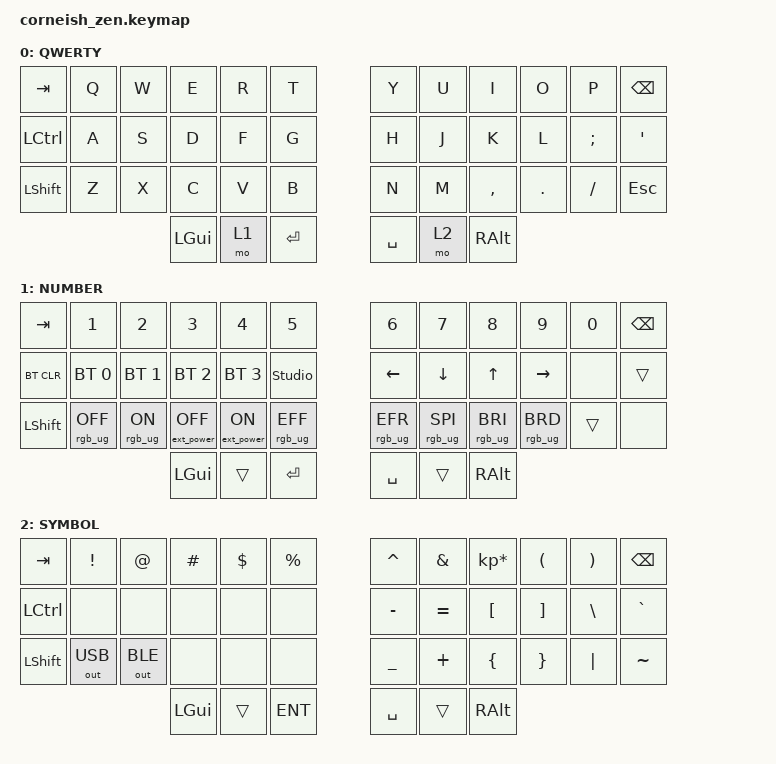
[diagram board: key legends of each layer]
/*
*
* Copyright (c) 2021 Darryl deHaan
* SPDX-License-Identifier: MIT
*
*/

#include <behaviors.dtsi>
#include <dt-bindings/zmk/keys.h>
#include <dt-bindings/zmk/bt.h>
#include <dt-bindings/zmk/ext_power.h>
#include <dt-bindings/zmk/outputs.h>
#include <dt-bindings/zmk/rgb.h>

/ {
    chosen {
        zmk,matrix_transform = &default_transform;
        // zmk,matrix_transform = &five_column_transform;
    };
};

/ {
    keymap {
        compatible = "zmk,keymap";

        default_layer {
            display-name = "QWERTY";
// --------------------------------------------------------------------------------
// |  TAB |  Q  |  W  |  E  |  R  |  T  |   |  Y  |  U   |  I  |  O  |  P  | BKSP |
// | CTRL |  A  |  S  |  D  |  F  |  G  |   |  H  |  J   |  K  |  L  |  ;  |  '   |
// | SHFT |  Z  |  X  |  C  |  V  |  B  |   |  N  |  M   |  ,  |  .  |  /  | ESC  |
//                    | GUI | LWR | SPC |   | ENT | RSE  | ALT |
            bindings = <
&kp TAB &kp Q   &kp W &kp E &kp R &kp T   &kp Y &kp U  &kp I     &kp O   &kp P    &kp BSPC
&kp LCTRL &kp A &kp S &kp D &kp F &kp G   &kp H &kp J  &kp K     &kp L   &kp SEMI &kp SQT
&kp LSHFT &kp Z &kp X &kp C &kp V &kp B   &kp N &kp M  &kp COMMA &kp DOT &kp FSLH &kp ESC
               &kp LGUI &mo 1 &kp RET   &kp SPACE &mo 2 &kp RALT
            >;
        };

        lower_layer {
            display-name = "NUMBER";
// -----------------------------------------------------------------------------------------
// |  TAB |  1  |  2  |  3  |  4  |  5  |   |  6  |  7  |  8  |  9  |  0  | BKSP |
// | BTCLR| BT1 | BT2 | BT3 | BT4 |SD_UL|   | LFT | DWN |  UP | RGT |     |      |
// | SHFT |     |     |     |     |     |   |     |     |     |     |     |      |
//                    | GUI |     | ENT |   | SPC |     | ALT |
            bindings = <
&kp TAB    &kp N1       &kp N2       &kp N3       &kp N4       &kp N5                                  &kp N6   &kp N7   &kp N8 &kp N9    &kp N0 &kp BSPC
&bt BT_CLR &bt BT_SEL 0 &bt BT_SEL 1 &bt BT_SEL 2 &bt BT_SEL 3 &studio_unlock                                 &kp LEFT &kp DOWN &kp UP &kp RIGHT &none &trans
&kp LSHFT  &rgb_ug RGB_OFF   &rgb_ug RGB_ON  &ext_power EP_OFF  &ext_power EP_ON  &rgb_ug RGB_EFF            &rgb_ug RGB_EFR        &rgb_ug RGB_SPI   &rgb_ug RGB_BRI   &rgb_ug RGB_BRD    &trans &none
                                     &kp LGUI     &trans       &kp RET                                        &kp SPACE  &trans   &kp RALT
            >;
        };

        raise_layer {
            display-name = "SYMBOL";
// -----------------------------------------------------------------------------------------
// |  TAB |  !  |  @  |  #  |  $  |  %  |   |  ^  |  &  |  *  |  (  |  )  | BKSP |
// | CTRL |SD_UL|     |     |     |     |   |  -  |  =  |  [  |  ]  |  \  |  `   |
// | SHFT |     |     |     |     |     |   |  _  |  +  |  {  |  }  | "|" |  ~   |
//                    | GUI |     | ENT |   | SPC |     | ALT |
            bindings = <
&kp  TAB  &kp EXCL &kp AT &kp HASH &kp DLLR &kp PRCNT                           &kp CARET &kp AMPS  &kp KP_MULTIPLY &kp LPAR &kp RPAR &kp BSPC
&kp LCTRL  &none  &none  &none  &none   &none                             &kp MINUS &kp EQUAL &kp LBKT        &kp RBKT &kp BSLH &kp GRAVE
&kp LSHFT &out OUT_USB   &out OUT_BLE &none   &none   &none                  &kp UNDER &kp PLUS  &kp LBRC        &kp RBRC &kp PIPE &kp TILDE
                          &kp LGUI &trans   &kp ENT                           &kp SPACE   &trans    &kp RALT
            >;
        };
    };
};
